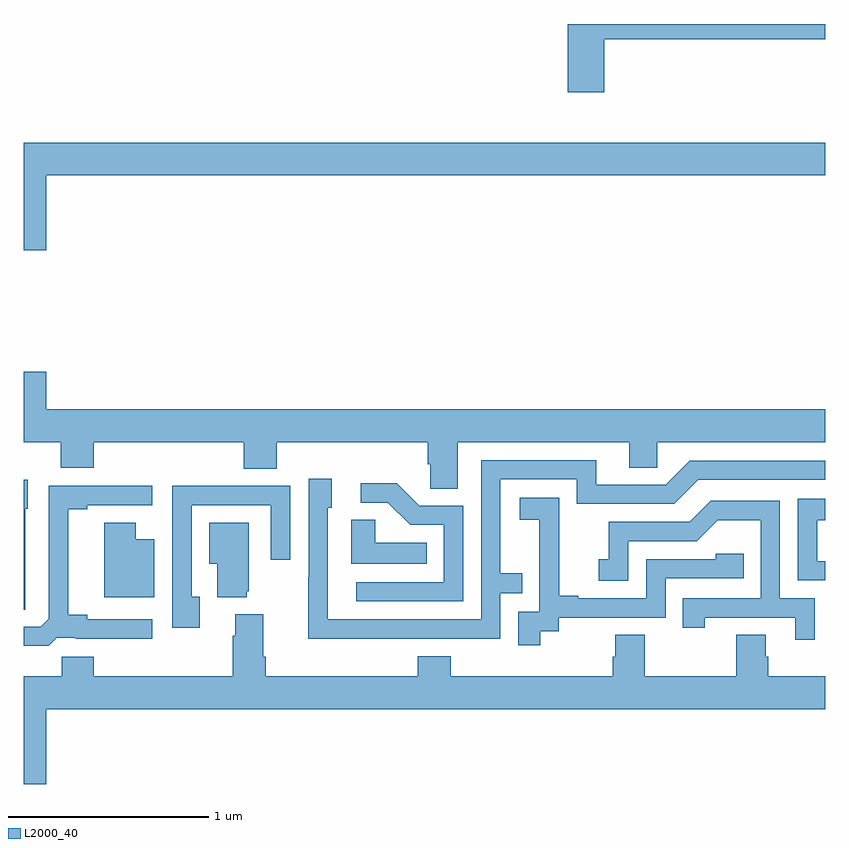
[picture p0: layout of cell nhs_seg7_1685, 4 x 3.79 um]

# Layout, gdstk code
import gdstk
lib = gdstk.Library(unit=1e-6, precision=1e-09)
def P(c, l, *ps):  # polygons
    for p in ps: c.add(gdstk.Polygon(p, *l))
L2000_40 = (2000, 40)

nhs_seg7_1685 = lib.new_cell('nhs_seg7_1685')
P(nhs_seg7_1685, L2000_40, [(227.897,1039.924),(229,1039.924),(229,1040),(227.714,1040),(227.714,1039.659),(227.897,1039.659)],
  [(225.112,1039.244),(229,1039.244),(229,1039.408),(225,1039.408),(225,1038.87),(225.112,1038.87)],
  [(227.167,1037.912),(228.023,1037.912),(228.023,1037.785),(228.162,1037.785),(228.162,1037.912),(229,1037.912),(229,1038.076),(225.112,1038.076),(225.112,1038.265),(225,1038.265),(225,1037.912),(225.185,1037.912),(225.185,1037.784),(225.349,1037.784),(225.349,1037.912),(226.097,1037.912),(226.097,1037.779),(226.262,1037.779),(226.262,1037.912),(227.015,1037.912),(227.015,1037.803),(227.028,1037.803),(227.028,1037.68),(227.167,1037.68)],
  [(226.883,1036.932),(227.379,1036.932),(227.379,1037.157),(227.489,1037.157),(227.489,1037.258),(227.379,1037.258),(227.379,1037.727),(227.76,1037.727),(227.76,1037.604),(228.246,1037.604),(228.366,1037.724),(229,1037.724),(229,1037.82),(228.324,1037.82),(228.204,1037.7),(227.857,1037.7),(227.857,1037.823),(227.283,1037.823),(227.283,1037.028),(226.518,1037.028),(226.518,1037.586),(226.537,1037.586),(226.537,1037.731),(226.422,1037.731),(226.422,1037.237),(226.42,1037.237),(226.42,1036.93),(226.883,1036.93)],
  [(225.006,1037.58),(225.019,1037.58),(225.019,1037.725),(225,1037.725),(225,1037.077),(225.006,1037.077)],
  [(227.193,1037.595),(226.974,1037.595),(226.861,1037.708),(226.683,1037.708),(226.683,1037.61),(226.817,1037.61),(226.928,1037.499),(227.097,1037.499),(227.097,1037.214),(226.659,1037.214),(226.659,1037.118),(227.193,1037.118)],
  [(225.877,1037.142),(225.837,1037.142),(225.837,1037.598),(226.233,1037.598),(226.233,1037.325),(226.329,1037.325),(226.329,1037.694),(226.013,1037.694),(226.013,1037.696),(225.741,1037.696),(225.741,1036.986),(225.877,1036.986)],
  [(225.165,1036.935),(225.259,1036.935),(225.259,1036.93),(225.64,1036.93),(225.64,1037.028),(225.316,1037.028),(225.316,1037.051),(225.221,1037.051),(225.221,1037.578),(225.316,1037.578),(225.316,1037.598),(225.64,1037.598),(225.64,1037.694),(225.123,1037.694),(225.123,1037.031),(225.084,1036.992),(225,1036.992),(225,1036.896),(225.125,1036.896)],
  [(227.578,1036.969),(227.67,1036.969),(227.67,1037.037),(228.204,1037.037),(228.204,1037.232),(228.593,1037.232),(228.593,1037.355),(228.453,1037.355),(228.453,1037.328),(228.108,1037.328),(228.108,1037.133),(227.767,1037.133),(227.767,1037.146),(227.672,1037.146),(227.672,1037.429),(227.673,1037.429),(227.673,1037.635),(227.475,1037.635),(227.475,1037.525),(227.573,1037.525),(227.573,1037.297),(227.574,1037.297),(227.574,1037.067),(227.469,1037.067),(227.469,1036.899),(227.578,1036.899)],
  [(229,1037.319),(228.961,1037.319),(228.961,1037.523),(229,1037.523),(229,1037.629),(228.864,1037.629),(228.864,1037.223),(229,1037.223)],
  [(228.948,1037.133),(228.774,1037.133),(228.774,1037.619),(228.428,1037.619),(228.323,1037.514),(227.92,1037.514),(227.92,1037.329),(227.871,1037.329),(227.871,1037.22),(228.018,1037.22),(228.018,1037.418),(228.36,1037.418),(228.464,1037.522),(228.678,1037.522),(228.678,1037.133),(228.289,1037.133),(228.289,1036.986),(228.4,1036.986),(228.4,1037.037),(228.851,1037.037),(228.851,1036.926),(228.948,1036.926)],
  [(227.012,1037.41),(226.755,1037.41),(226.755,1037.525),(226.634,1037.525),(226.634,1037.306),(227.012,1037.306)],
  [(226.112,1037.169),(226.123,1037.169),(226.123,1037.509),(225.926,1037.509),(225.926,1037.306),(225.965,1037.306),(225.965,1037.138),(226.112,1037.138)],
  [(225.652,1037.428),(225.559,1037.428),(225.559,1037.509),(225.401,1037.509),(225.401,1037.138),(225.652,1037.138)],
  [(229,1036.744),(228.716,1036.744),(228.716,1036.842),(228.703,1036.842),(228.703,1036.952),(228.556,1036.952),(228.556,1036.744),(228.099,1036.744),(228.099,1036.952),(227.951,1036.952),(227.951,1036.842),(227.939,1036.842),(227.939,1036.744),(227.132,1036.744),(227.132,1036.843),(226.967,1036.843),(226.967,1036.744),(226.208,1036.744),(226.208,1036.84),(226.195,1036.84),(226.195,1037.053),(226.055,1037.053),(226.055,1036.946),(226.043,1036.946),(226.043,1036.744),(225.35,1036.744),(225.35,1036.842),(225.19,1036.842),(225.19,1036.744),(225,1036.744),(225,1036.206),(225.112,1036.206),(225.112,1036.58),(229,1036.58)])

lib.write_gds('nhs_seg7_1685.gds')
